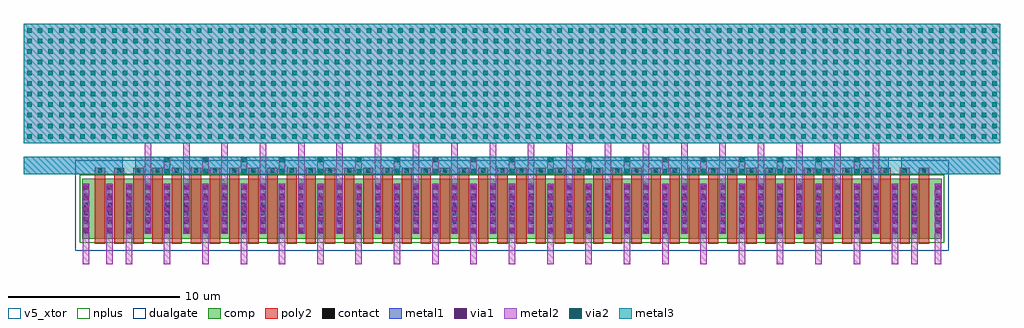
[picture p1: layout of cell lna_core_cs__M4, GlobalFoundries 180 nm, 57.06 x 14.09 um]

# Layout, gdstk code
import gdstk
lib = gdstk.Library(unit=1e-6, precision=1e-09)
def R(c, l, rs):  # rectangles x0, y0, x1, y1
    for r in rs: c.add(gdstk.rectangle(r[:2], r[2:], *l))
def A(c, l, x, y, w, h, nx, ny, dx, dy):  # array of equal rectangles
    R(c, l, [(x+i*dx, y+j*dy, x+i*dx+w, y+j*dy+h) for i in range(nx) for j in range(ny)])
comp = (22, 0)
poly2 = (30, 0)
nplus = (32, 0)
contact = (33, 0)
metal1 = (34, 0)
via1 = (35, 0)
metal2 = (36, 0)
via2 = (38, 0)
metal3 = (42, 0)
dualgate = (55, 0)
v5_xtor = (112, 1)

lna_core_cs__m4_pcell = lib.new_cell('lna_core_cs__M4_pcell')
R(lna_core_cs__m4_pcell, comp, [(-0.42,0,0,3.5), (0,0,49.38,3.5), (49.38,0,49.8,3.5)])
A(lna_core_cs__m4_pcell, poly2, 0.31, -0.3, 0.6, 4.1, 44, 1, 1.12, 0)
A(lna_core_cs__m4_pcell, poly2, 0.31, 3.8, 0.6, 0.36, 44, 1, 1.12, 0)
R(lna_core_cs__m4_pcell, nplus, [(-0.59,-0.24,49.97,3.74)])
A(lna_core_cs__m4_pcell, contact, -0.32, 0.365, 0.22, 0.22, 1, 6, 0, 0.51)
A(lna_core_cs__m4_pcell, contact, 1.06, 0.365, 0.22, 0.22, 43, 6, 1.12, 0.51)
A(lna_core_cs__m4_pcell, contact, 49.48, 0.365, 0.22, 0.22, 1, 6, 0, 0.51)
A(lna_core_cs__m4_pcell, contact, 0.5, 3.87, 0.22, 0.22, 44, 1, 1.12, 0)
A(lna_core_cs__m4_pcell, metal1, 0.98, 0.285, 0.38, 2.93, 43, 1, 1.12, 0)
A(lna_core_cs__m4_pcell, metal1, 0.42, 3.785, 0.38, 0.39, 44, 1, 1.12, 0)
R(lna_core_cs__m4_pcell, metal1, [(-0.4,0.285,-0.02,3.215), (49.4,0.285,49.78,3.215)])
R(lna_core_cs__m4_pcell, dualgate, [(-0.84,-0.71,50.22,4.585)])
R(lna_core_cs__m4_pcell, v5_xtor, [(-0.84,-0.71,50.22,4.585)])

lna_core_cs__m4 = lib.new_cell('lna_core_cs__M4')
R(lna_core_cs__m4, metal1, [(-3.84,3.785,1.92,4.785), (2.66,3.785,46.72,4.785), (47.46,3.785,53.22,4.785)])
A(lna_core_cs__m4, via1, -0.34, 0.38, 0.26, 0.26, 1, 5, 0, 0.62)
A(lna_core_cs__m4, via1, 1.04, 0.38, 0.26, 0.26, 43, 5, 1.12, 0.62)
A(lna_core_cs__m4, via1, 49.46, 0.38, 0.26, 0.26, 1, 5, 0, 0.62)
A(lna_core_cs__m4, via1, 4.4, 3.845, 0.26, 0.26, 19, 2, 2.24, 0.62)
A(lna_core_cs__m4, metal2, 2.1, -1.5, 0.38, 4.715, 21, 1, 2.24, 0)
A(lna_core_cs__m4, metal2, 3.22, 0.285, 0.38, 5.8, 20, 1, 2.24, 0)
A(lna_core_cs__m4, metal2, 4.34, 3.785, 0.38, 1, 19, 1, 2.24, 0)
R(lna_core_cs__m4, metal2, [(-0.4,-1.5,-0.02,3.215), (0.98,-1.5,1.36,3.215), (48.02,-1.5,48.4,3.215), (49.4,-1.5,49.78,3.215), (-3.84,5.585,53.22,12.585)])
A(lna_core_cs__m4, via2, 4.4, 3.845, 0.26, 0.26, 19, 2, 2.24, 0.62)
A(lna_core_cs__m4, via2, -3.65, 5.855, 0.26, 0.26, 92, 11, 0.62, 0.62)
R(lna_core_cs__m4, metal3, [(-3.84,3.785,53.22,4.785), (-3.84,5.585,53.22,12.585)])
lna_core_cs__m4.add(gdstk.Reference(lna_core_cs__m4_pcell, (0,0)))

lib.write_gds('lna_core_cs__M4.gds')
